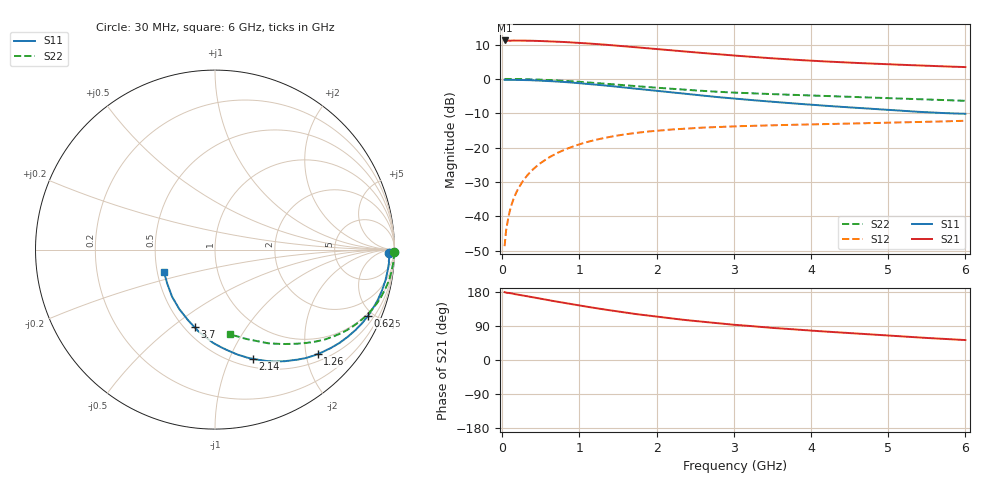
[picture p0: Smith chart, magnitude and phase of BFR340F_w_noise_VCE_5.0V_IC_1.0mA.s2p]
! Infineon Technologies  Discrete & RF Semiconductors
! BFR340F
! VCE =  5.0 V,  IC =  1.0 mA
! Common Emitter S-Parameters:  Nov 2015
# GHz  S  MA  R  50
!  f  S11  S21  S12  S22
! GHz  MAG  ANG  MAG  ANG  MAG  ANG  MAG  ANG
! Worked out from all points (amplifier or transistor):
!   206 points, 30 MHz to 6 GHz, reference 50 ohm
!   highest |S21| = 11.2 dB at 30 MHz (marker M1)
!   |S21| within 3 dB of that: start of sweep to 2.254 GHz
!   unconditionally stable (mu >= 1): 5.862 GHz to end of sweep
!   at 200 MHz: K = 0.04, MSG = 21.7 dB, |S12| = -32.2 dB
!   at 1.56 GHz: K = 0.36, MSG = 12.9 dB, |S12| = -16.2 dB
!   at 6 GHz: K = 1.01, MAG = 7.3 dB, |S12| = -12.2 dB
!   lowest NFmin = 0.63 dB at 450 MHz
!   S11 on the Smith chart (normalised r, x): 30 MHz: 48, -31; 620 MHz: 0.88, -4.69; 1.26 GHz: 0.64, -2.23; 2.14 GHz: 0.59, -1.22; 3.7 GHz: 0.56, -0.60; 6 GHz: 0.54, -0.15
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0.03  0.9711 -1.1  3.621 179.0  0.0037 87.3  0.9977 -0.7
0.05  0.9699 -1.8  3.583 177.5  0.0063 87.4  0.9975 -1.3
0.07  0.9715 -2.7  3.616 177.0  0.0087 89.0  0.9981 -1.8
0.095  0.9708 -3.6  3.595 176.5  0.0118 87.5  0.9974 -2.5
0.14  0.9702 -5.3  3.616 174.9  0.0173 86.5  0.9963 -3.8
0.19  0.9681 -7.2  3.61 173.0  0.0234 85.1  0.9945 -5.1
0.36  0.9581 -13.7  3.59 166.8  0.0439 80.9  0.9851 -9.6
0.62  0.9287 -23.3  3.514 157.2  0.0737 74.5  0.9601 -16.3
0.82  0.8983 -30.5  3.428 150.0  0.0948 69.9  0.9343 -21.2
1.04  0.8587 -38.2  3.316 142.6  0.1156 65.0  0.9003 -26.3
1.26  0.8159 -45.5  3.188 135.4  0.1339 60.5  0.8637 -31.1
1.6  0.7446 -56.3  2.975 124.8  0.1567 54.5  0.8056 -37.6
2.02  0.665 -67.8  2.702 113.8  0.177 48.7  0.7417 -44.2
2.14  0.6434 -70.9  2.628 111.0  0.1816 47.3  0.7251 -45.8
2.58  0.5724 -81.8  2.387 101.1  0.1953 43.2  0.6713 -51.5
2.82  0.54 -87.3  2.27 96.3  0.201 41.5  0.6476 -54.3
3.1  0.5068 -93.2  2.146 91.5  0.2058 39.9  0.6258 -56.9
3.5  0.4655 -101.3  1.991 84.7  0.2118 38.2  0.6003 -60.4
3.7  0.4466 -104.8  1.927 82.0  0.2143 37.9  0.5897 -61.6
4.1  0.4136 -112.6  1.814 76.2  0.2194 37.3  0.5689 -64.3
5.1  0.3485 -134.5  1.616 63.2  0.2319 37.3  0.5184 -72.2
6  0.3111 -156.0  1.485 52.6  0.2464 39.2  0.4802 -79.9
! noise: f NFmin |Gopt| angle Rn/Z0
0.45  0.63  0.86  4  0.63
0.9  0.69  0.79  13  0.66
1.9  1.1  0.64  26  0.57
2.4  1.18  0.61  34  0.54
